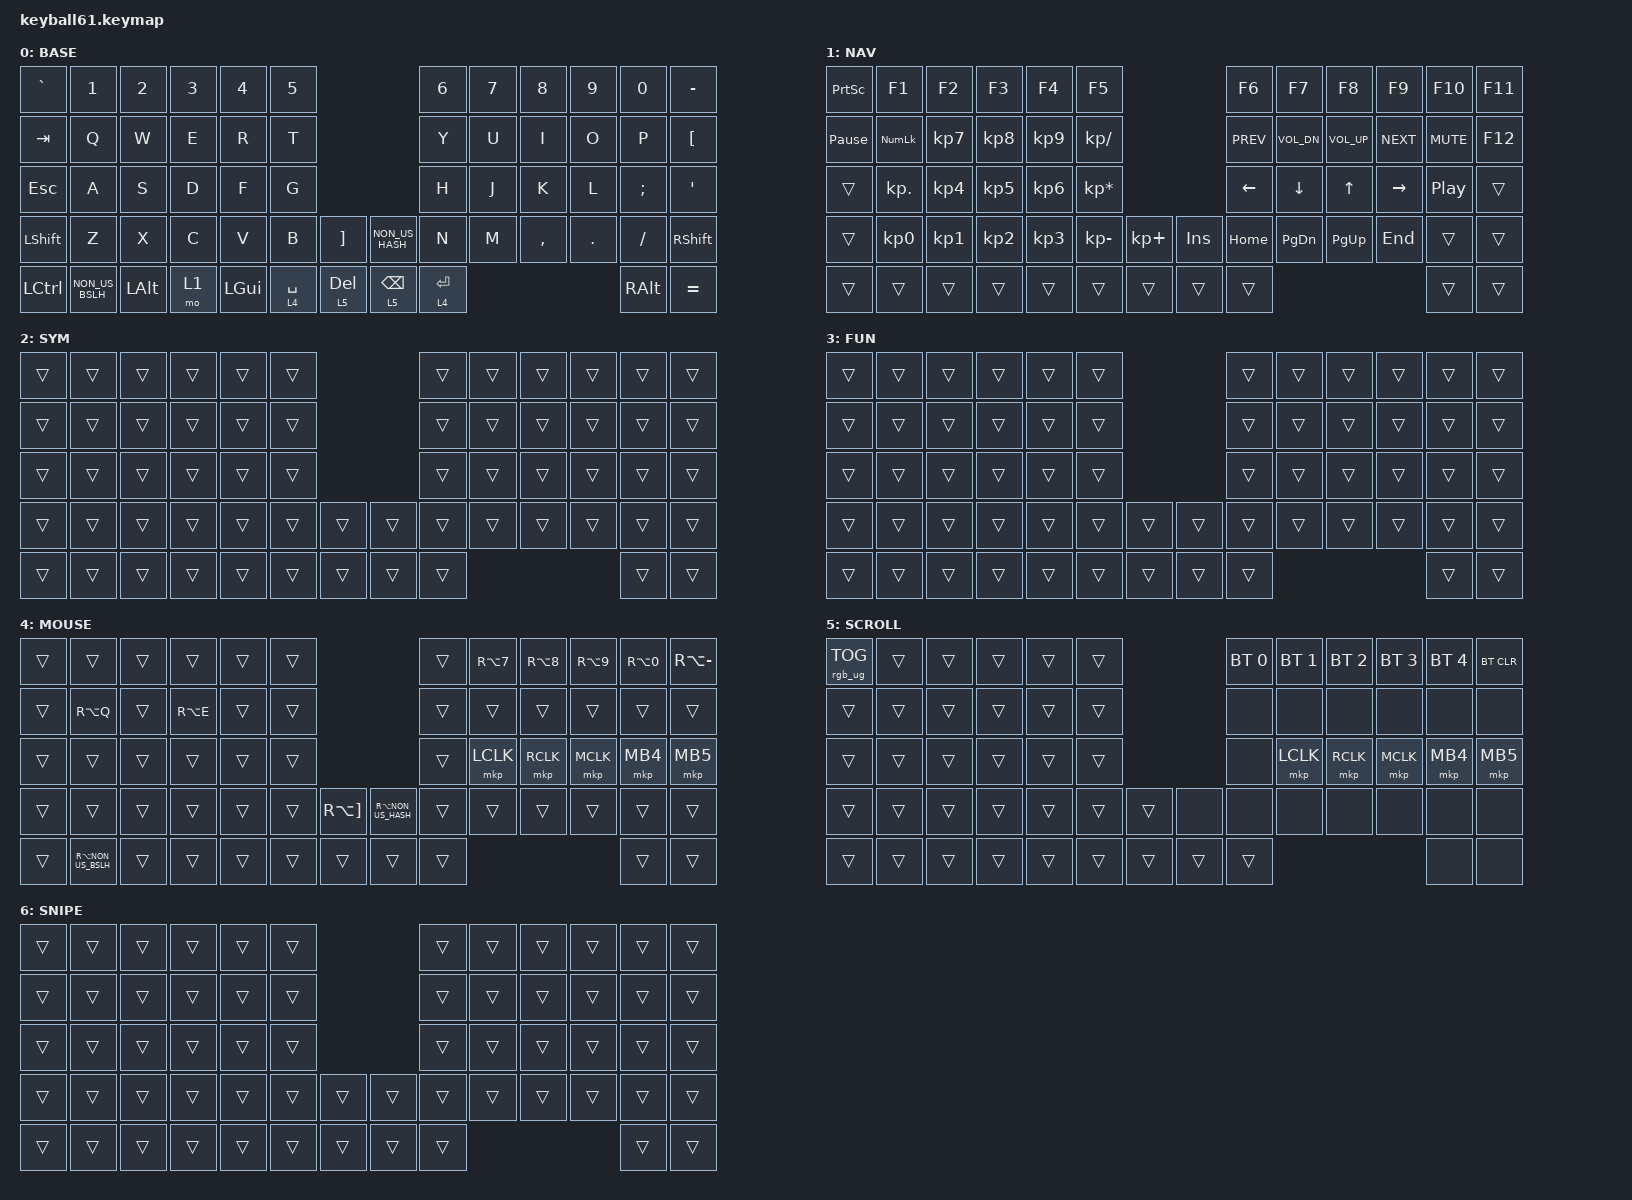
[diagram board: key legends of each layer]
#define DEFAULT 0
#define NAV     1
#define SYM     2
#define FUN     3
#define MOUSE   4
#define SCROLL  5
#define SNIPE   6

#include <behaviors/mouse_keys.dtsi>
#include <behaviors.dtsi>
#include <dt-bindings/zmk/bt.h>
#include <dt-bindings/zmk/keys.h>
#include <dt-bindings/zmk/mouse.h>
#include <dt-bindings/zmk/rgb.h>

&lt {
    tapping-term-ms = <240>;
    flavor = "balanced";
    quick-tap-ms = <150>;
};

&mt {
    tapping-term-ms = <200>;
    flavor = "tap-preferred";
    quick-tap-ms = <150>;
};

/ {
    keymap {
        compatible = "zmk,keymap";

        default_layer {
            label = "BASE";
            bindings = <
&kp GRAVE &kp N1          &kp N2   &kp N3   &kp N4    &kp N5                                   &kp N6 &kp N7 &kp N8    &kp N9  &kp N0   &kp MINUS
&kp TAB   &kp Q           &kp W    &kp E    &kp R     &kp T                                    &kp Y  &kp U  &kp I     &kp O   &kp P    &kp LBKT
&kp ESC   &kp A           &kp S    &kp D    &kp F     &kp G                                    &kp H  &kp J  &kp K     &kp L   &kp SEMI &kp SQT
&kp LSHFT &kp Z           &kp X    &kp C    &kp V     &kp B     &kp RBKT      &kp NON_US_HASH  &kp N  &kp M  &kp COMMA &kp DOT &kp FSLH &kp RSHFT
&kp LCTRL &kp NON_US_BSLH &kp LALT &mo 1    &kp LGUI  &lt 4 SPACE &lt 5 DELETE &lt 5 BSPC       &lt 4 ENTER                    &kp RALT &kp EQUAL
            >;
        };

        nav_layer {
            label = "NAV";
            bindings = <
&kp PSCRN       &kp F1          &kp F2          &kp F3          &kp F4          &kp F5                                          &kp F6          &kp F7          &kp F8          &kp F9          &kp F10         &kp F11
&kp PAUSE_BREAK &kp KP_NUM      &kp KP_N7       &kp KP_N8       &kp KP_N9       &kp KP_DIVIDE                                   &kp C_PREV      &kp C_VOL_DN    &kp C_VOL_UP    &kp C_NEXT      &kp C_MUTE      &kp F12
&trans          &kp KP_DOT      &kp KP_N4       &kp KP_N5       &kp KP_N6       &kp KP_MULTIPLY                                 &kp LEFT        &kp DOWN        &kp UP          &kp RIGHT       &kp C_PP        &trans
&trans          &kp KP_N0       &kp KP_N1       &kp KP_N2       &kp KP_N3       &kp KP_MINUS    &kp KP_PLUS     &kp INS         &kp HOME        &kp PG_DN       &kp PG_UP       &kp END         &trans          &trans
&trans          &trans          &trans          &trans          &trans          &trans          &trans          &trans          &trans                                                          &trans          &trans
            >;
        };

        sym_layer {
            label = "SYM";
            bindings = <
&trans &trans &trans &trans &trans &trans                  &trans &trans &trans &trans &trans &trans
&trans &trans &trans &trans &trans &trans                  &trans &trans &trans &trans &trans &trans
&trans &trans &trans &trans &trans &trans                  &trans &trans &trans &trans &trans &trans
&trans &trans &trans &trans &trans &trans &trans   &trans  &trans &trans &trans &trans &trans &trans
&trans &trans &trans &trans &trans &trans &trans   &trans  &trans                      &trans &trans
            >;
        };

        fun_layer {
            label = "FUN";
            bindings = <
&trans &trans &trans &trans &trans &trans                  &trans &trans &trans &trans &trans &trans
&trans &trans &trans &trans &trans &trans                  &trans &trans &trans &trans &trans &trans
&trans &trans &trans &trans &trans &trans                  &trans &trans &trans &trans &trans &trans
&trans &trans &trans &trans &trans &trans &trans   &trans  &trans &trans &trans &trans &trans &trans
&trans &trans &trans &trans &trans &trans &trans   &trans  &trans                      &trans &trans
            >;
        };

        mouse_layer {
            label = "MOUSE";
            bindings = <
&trans &trans             &trans &trans &trans &trans                                     &trans    &kp RA(N7) &kp RA(N8) &kp RA(N9) &kp RA(N0) &kp RA(MINUS)
&trans &kp RA(Q)          &trans &kp RA(E) &trans &trans                                  &trans    &trans     &trans     &trans     &trans     &trans
&trans &trans             &trans &trans &trans &trans                                     &trans    &mkp LCLK  &mkp RCLK  &mkp MCLK  &mkp MB4   &mkp MB5
&trans &trans             &trans &trans &trans &trans &kp RA(RBKT)    &kp RA(NON_US_HASH) &trans    &trans     &trans     &trans     &trans     &trans
&trans &kp RA(NON_US_BSLH) &trans &trans &trans &trans &trans          &trans              &trans                          &trans     &trans
            >;
        };

        scroll_layer {
            label = "SCROLL";
            bindings = <
&rgb_ug RGB_TOG &trans          &trans          &trans          &trans          &trans                                    &bt BT_SEL 0 &bt BT_SEL 1 &bt BT_SEL 2 &bt BT_SEL 3 &bt BT_SEL 4 &bt BT_CLR
&trans          &trans          &trans          &trans          &trans          &trans                                    &none        &none        &none        &none        &none        &none
&trans          &trans          &trans          &trans          &trans          &trans                                    &none        &mkp LCLK    &mkp RCLK    &mkp MCLK    &mkp MB4     &mkp MB5
&trans          &trans          &trans          &trans          &trans          &trans          &trans          &none     &none        &none        &none        &none        &none        &none
&trans          &trans          &trans          &trans          &trans          &trans          &trans          &trans    &trans                                              &none        &none
            >;
        };

        snipe_layer {
            label = "SNIPE";
            bindings = <
&trans &trans &trans &trans &trans &trans                  &trans &trans &trans &trans &trans &trans
&trans &trans &trans &trans &trans &trans                  &trans &trans &trans &trans &trans &trans
&trans &trans &trans &trans &trans &trans                  &trans &trans &trans &trans &trans &trans
&trans &trans &trans &trans &trans &trans &trans   &trans  &trans &trans &trans &trans &trans &trans
&trans &trans &trans &trans &trans &trans &trans   &trans  &trans                      &trans &trans
            >;
        };
    };
};
